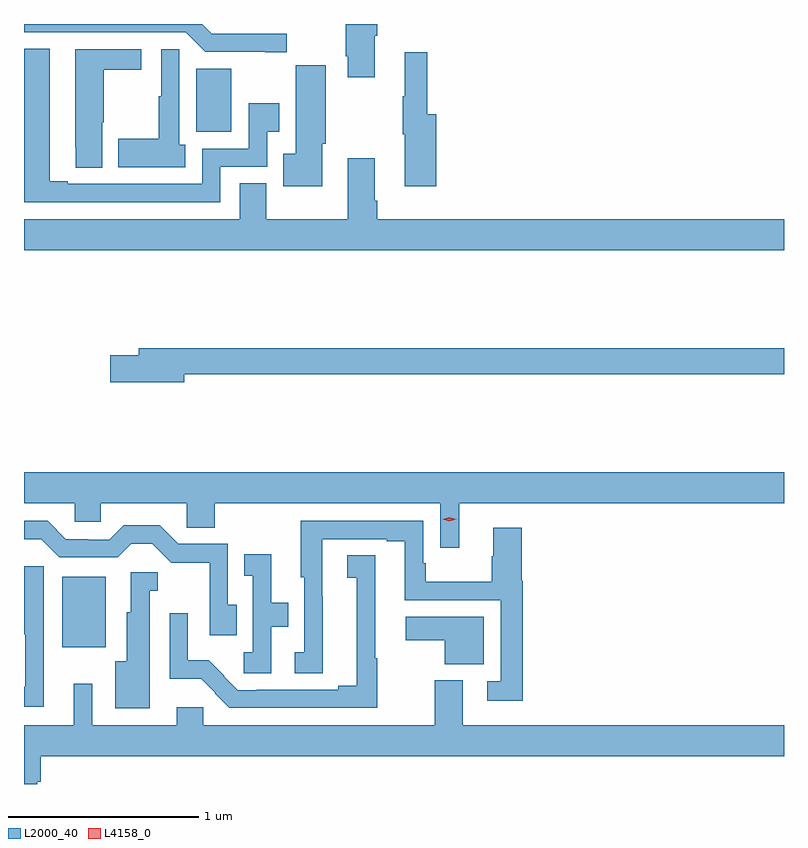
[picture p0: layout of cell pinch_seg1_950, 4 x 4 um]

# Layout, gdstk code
import gdstk
lib = gdstk.Library(unit=1e-6, precision=1e-09)
def R(c, l, rs):  # rectangles x0, y0, x1, y1
    for r in rs: c.add(gdstk.rectangle(r[:2], r[2:], *l))
def P(c, l, *ps):  # polygons
    for p in ps: c.add(gdstk.Polygon(p, *l))
L2000_40 = (2000, 40)
L4158_0 = (4158, 0)

pinch_seg1_950 = lib.new_cell('pinch_seg1_950')
R(pinch_seg1_950, L2000_40, [(327.809,511.016,328.036,511.387), (328.514,513.728,328.699,514.06)])
P(pinch_seg1_950, L2000_40, [(329.452,514.234),(329.465,514.234),(329.465,514.295),(329.3,514.295),(329.3,514.126),(329.312,514.126),(329.312,514.014),(329.452,514.014)],
  [(328.99,514.245),(328.596,514.245),(328.546,514.295),(327.607,514.295),(327.607,514.251),(328.458,514.251),(328.56,514.149),(328.877,514.149),(328.877,514.147),(328.99,514.147)],
  [(328.641,513.543),(328.887,513.543),(328.887,513.728),(328.951,513.728),(328.951,513.877),(328.791,513.877),(328.791,513.639),(328.545,513.639),(328.545,513.453),(327.838,513.453),(327.838,513.468),(327.742,513.468),(327.742,514.166),(327.607,514.166),(327.607,513.357),(328.641,513.357)],
  [(328.456,513.659),(328.425,513.659),(328.425,514.049),(328.424,514.049),(328.424,514.162),(328.329,514.162),(328.329,513.914),(328.317,513.914),(328.317,513.69),(328.103,513.69),(328.103,513.542),(328.456,513.542)],
  [(328.018,513.778),(328.026,513.778),(328.026,514.053),(328.225,514.053),(328.225,514.161),(327.878,514.161),(327.878,513.646),(327.879,513.646),(327.879,513.538),(328.018,513.538)],
  [(329.777,513.82),(329.729,513.82),(329.729,514.147),(329.612,514.147),(329.612,513.916),(329.601,513.916),(329.601,513.716),(329.612,513.716),(329.612,513.44),(329.777,513.44)],
  [(329.176,513.666),(329.196,513.666),(329.196,514.078),(329.036,514.078),(329.036,513.611),(328.972,513.611),(328.972,513.44),(329.176,513.44)],
  [(331.607,513.268),(329.465,513.268),(329.465,513.364),(329.452,513.364),(329.452,513.589),(329.312,513.589),(329.312,513.268),(328.882,513.268),(328.882,513.458),(328.742,513.458),(328.742,513.268),(327.607,513.268),(327.607,513.104),(331.607,513.104)],
  [(328.45,512.452),(331.607,512.452),(331.607,512.588),(328.211,512.588),(328.211,512.552),(328.062,512.552),(328.062,512.41),(328.45,512.41)],
  [(329.897,511.772),(331.607,511.772),(331.607,511.936),(327.607,511.936),(327.607,511.772),(327.873,511.772),(327.873,511.674),(328.011,511.674),(328.011,511.772),(328.464,511.772),(328.464,511.645),(328.611,511.645),(328.611,511.772),(329.799,511.772),(329.799,511.539),(329.897,511.539)],
  [(330.233,511.366),(330.227,511.366),(330.227,511.645),(330.077,511.645),(330.077,511.494),(330.07,511.494),(330.07,511.36),(329.722,511.36),(329.722,511.456),(329.709,511.456),(329.709,511.68),(329.063,511.68),(329.063,511.383),(329.082,511.383),(329.082,510.988),(329.031,510.988),(329.031,510.877),(329.18,510.877),(329.18,511.283),(329.178,511.283),(329.178,511.584),(329.516,511.584),(329.516,511.572),(329.612,511.572),(329.612,511.263),(330.117,511.263),(330.117,510.837),(330.045,510.837),(330.045,510.732),(330.233,510.732)],
  [(328.727,511.238),(328.68,511.238),(328.68,511.56),(328.419,511.56),(328.322,511.657),(328.132,511.657),(328.056,511.581),(327.944,511.581),(327.944,511.584),(327.828,511.584),(327.732,511.68),(327.607,511.68),(327.607,511.583),(327.697,511.583),(327.792,511.488),(328.101,511.488),(328.172,511.56),(328.282,511.56),(328.382,511.459),(328.584,511.459),(328.584,511.077),(328.727,511.077)],
  [(328.908,511.122),(328.997,511.122),(328.997,511.25),(328.909,511.25),(328.909,511.504),(328.765,511.504),(328.765,511.391),(328.812,511.391),(328.812,510.988),(328.763,510.988),(328.763,510.877),(328.908,510.877)],
  [(329.467,510.956),(329.455,510.956),(329.455,511.499),(329.307,511.499),(329.307,511.381),(329.357,511.381),(329.357,510.812),(329.261,510.812),(329.261,510.792),(328.831,510.792),(328.831,510.789),(328.731,510.789),(328.659,510.861),(328.662,510.864),(328.579,510.947),(328.47,510.947),(328.47,511.195),(328.374,511.195),(328.374,510.849),(328.54,510.849),(328.613,510.776),(328.61,510.773),(328.688,510.696),(329.467,510.696)],
  [(327.712,511.441),(327.607,511.441),(327.607,511.082),(327.614,511.082),(327.614,510.807),(327.607,510.807),(327.607,510.702),(327.712,510.702)],
  [(328.27,511.311),(328.311,511.311),(328.311,511.41),(328.169,511.41),(328.169,511.2),(328.148,511.2),(328.148,510.94),(328.088,510.94),(328.088,510.695),(328.27,510.695)],
  [(330.028,511.174),(329.616,511.174),(329.616,511.052),(329.822,511.052),(329.822,510.926),(330.028,510.926)],
  [(327.676,510.306),(327.695,510.306),(327.695,510.44),(331.607,510.44),(331.607,510.604),(329.917,510.604),(329.917,510.841),(329.77,510.841),(329.77,510.604),(328.551,510.604),(328.551,510.7),(328.412,510.7),(328.412,510.604),(327.966,510.604),(327.966,510.823),(327.869,510.823),(327.869,510.604),(327.607,510.604),(327.607,510.295),(327.676,510.295)])
P(pinch_seg1_950, L4158_0, [(329.846,511.679),(329.811,511.689),(329.81,511.689),(329.811,511.689),(329.846,511.699),(329.882,511.689),(329.882,511.689),(329.882,511.689)])

lib.write_gds('pinch_seg1_950.gds')
